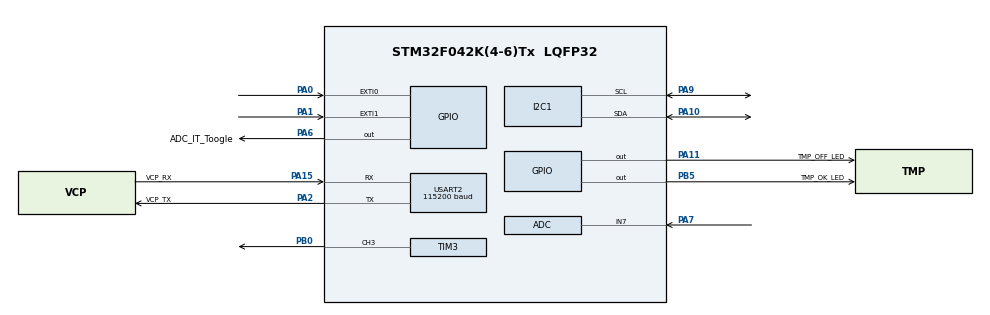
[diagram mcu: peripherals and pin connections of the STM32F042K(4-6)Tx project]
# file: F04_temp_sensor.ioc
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ADC.Resolution=ADC_RESOLUTION_12B
ADC.SamplingTime=ADC_SAMPLETIME_1CYCLE_5
I2C1.Timing=0x00201D2B
Mcu.Family=STM32F0
Mcu.Name=STM32F042K(4-6)Tx
Mcu.Package=LQFP32
NVIC.EXTI0_1_IRQn=true\:0\:0\:false\:false\:true\:true\:true\:true
NVIC.TIM14_IRQn=true\:0\:0\:false\:false\:true\:true\:true\:true
PA0.GPIO_ModeDefaultEXTI=GPIO_MODE_IT_FALLING
PA0.GPIO_PuPd=GPIO_PULLUP
PA0.Signal=GPXTI0
PA1.GPIO_ModeDefaultEXTI=GPIO_MODE_IT_FALLING
PA1.GPIO_PuPd=GPIO_PULLUP
PA1.Signal=GPXTI1
PA10.Mode=I2C
PA10.Signal=I2C1_SDA
PA11.GPIO_Label=TMP_OFF_LED
PA11.Signal=GPIO_Output
PA13.GPIO_Label=SWDIO
PA13.Mode=Serial_Wire
PA13.Signal=SYS_SWDIO
PA14.GPIO_Label=SWCLK
PA14.Mode=Serial_Wire
PA14.Signal=SYS_SWCLK
PA15.GPIO_Label=VCP_RX
PA15.Mode=Asynchronous
PA15.Signal=USART2_RX
PA2.GPIO_Label=VCP_TX
PA2.Mode=Asynchronous
PA2.Signal=USART2_TX
PA6.GPIO_Label=ADC_IT_Toogle
PA6.Signal=GPIO_Output
PA7.Mode=IN7
PA7.Signal=ADC_IN7
PA9.Mode=I2C
PA9.Signal=I2C1_SCL
PB0.Signal=S_TIM3_CH3
PB5.GPIO_Label=TMP_OK_LED
PB5.Signal=GPIO_Output
PF0-OSC_IN.Signal=RCC_OSC_IN
ProjectManager.HeapSize=0x200
ProjectManager.StackSize=0x400
ProjectManager.TargetToolchain=STM32CubeIDE
SH.S_TIM3_CH3.0=TIM3_CH3,PWM Generation3 CH3
TIM14.Period=125-1
TIM14.Prescaler=8000-1
TIM3.AutoReloadPreload=TIM_AUTORELOAD_PRELOAD_ENABLE
TIM3.Channel-PWM\ Generation3\ CH3=TIM_CHANNEL_3
TIM3.Period=1999-1
TIM3.Pulse-PWM\ Generation3\ CH3=1000
USART2.BaudRate=115200
USART2.VirtualMode-Asynchronous=VM_ASYNC
VP_TIM14_VS_ClockSourceINT.Mode=Enable_Timer
board=NUCLEO-F042K6

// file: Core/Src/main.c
/* USER CODE BEGIN Header */
/**
  ******************************************************************************
  * @file           : main.c
  * @brief          : Main program body
  ******************************************************************************
  * @attention
  *
  * Copyright (c) 2025 STMicroelectronics.
  * All rights reserved.
  *
  * This software is licensed under terms that can be found in the LICENSE file
  * in the root directory of this software component.
  * If no LICENSE file comes with this software, it is provided AS-IS.
  *
  ******************************************************************************
  */
/* USER CODE END Header */
#include "main.h"

/* USER CODE BEGIN Includes */
#include <stdbool.h>
#include <stdio.h>
#include <string.h>
#include <stdlib.h>
#include "oled_functions.h"
#include "ssd1306.h"
/* USER CODE END Includes */

ADC_HandleTypeDef hadc;

I2C_HandleTypeDef hi2c1;

TIM_HandleTypeDef htim3;
TIM_HandleTypeDef htim14;

UART_HandleTypeDef huart2;

/* USER CODE BEGIN PV */
int i;
const int TMP102_error = 1;
const uint32_t debounce_delay = 200;
uint32_t last_GPIO_PIN_0_press = 0;
uint32_t last_GPIO_PIN_1_press = 0;
uint32_t raw_adc;
bool adc_ready;
uint32_t adc_sample_no = 10;
/* USER CODE END PV */

void SystemClock_Config(void);
static void MX_GPIO_Init(void);
static void MX_USART2_UART_Init(void);
static void MX_I2C1_Init(void);
static void MX_TIM3_Init(void);
static void MX_ADC_Init(void);
static void MX_TIM14_Init(void);
/* USER CODE BEGIN PFP */
uint32_t calc_average(uint32_t adc_samples[]);
float adc_to_voltage(uint32_t adc_value);
int32_t tmp36_cdeg_from_mV(int32_t mv);
/* USER CODE END PFP */

int main(void)
{

  /* MCU Configuration--------------------------------------------------------*/

  /* Reset of all peripherals, Initializes the Flash interface and the Systick. */
  HAL_Init();

  /* Configure the system clock */
  SystemClock_Config();

  /* Initialize all configured peripherals */
  MX_GPIO_Init();
  MX_USART2_UART_Init();
  MX_I2C1_Init();
  MX_TIM3_Init();
  MX_ADC_Init();
  MX_TIM14_Init();
  /* USER CODE BEGIN 2 */
  ////////////////////////////////////////////////////

  //timer 14 is used for ADS
  HAL_TIM_Base_Start_IT(&htim14);

  // ADC channel 7

  HAL_ADC_Start(&hadc);
  adc_ready = false;
  uint16_t adc_index = 0;
  uint32_t adc_samples[adc_sample_no];

  //initial set temp
  i = 18;

  //temp text out
  char temp_set_text[20];
  memset(temp_set_text, 0x00, 20);

  //temp variables
  uint8_t tmp102_addr = (0x48 << 1);
  uint8_t receive_buffer[3];
  char temp_out_buffer[22];
  memset(temp_out_buffer, 0x00, 22);
  int scaled;

  //timer 3
  HAL_TIM_PWM_Start(&htim3, TIM_CHANNEL_3);

  //oled
  ssd1306_Init();
  clear_oled();
  HAL_ADCEx_Calibration_Start(&hadc);

  ////////////////////////////////////////////////////
  /* USER CODE END 2 */

  /* Infinite loop */
  /* USER CODE BEGIN WHILE */
  while (1)
  {
	  //get temperature from TMP102
	  if((HAL_I2C_IsDeviceReady(&hi2c1, tmp102_addr, 1, 10)) == HAL_OK){
		  receive_buffer[0] = 0x00;
		  HAL_I2C_Master_Transmit(&hi2c1, tmp102_addr, receive_buffer, 1, 20);
		  HAL_I2C_Master_Receive(&hi2c1, tmp102_addr, receive_buffer, 2, 20);
		    int16_t raw = ((receive_buffer[0] << 4) | (receive_buffer[1] >> 4));
		    raw = (int16_t)(raw << 4) >> 4;  // sign-extend 12-bit value

		    float temp = raw * 0.0625f;
		    scaled = (int)(temp * 100);
		    sprintf(temp_out_buffer, "TMP102:%d.%02d C", (scaled / 100)-TMP102_error, abs(scaled % 100));//correct temp. by subtracting 1
		    send_strXY(temp_out_buffer, 0, 0, 22);
		    HAL_GPIO_WritePin(TMP_OK_LED_GPIO_Port, TMP_OK_LED_Pin, GPIO_PIN_SET);
	  }
	  else{
		    HAL_GPIO_WritePin(TMP_OK_LED_GPIO_Port, TMP_OK_LED_Pin, GPIO_PIN_RESET);

		    HAL_I2C_DeInit(&hi2c1);
		    //HAL_I2C1
		    HAL_Delay(10);
		    //HAL_I2C_Init(&hi2c1);
		    MX_I2C1_Init();

	  }

	  //show set temp
	  sprintf(temp_set_text, "Alarm temp=%i C", i);
	  send_strXY(temp_set_text, 0, 1, 15);

	  //test for alarm
	  if( i > ((scaled/100)- TMP102_error) ){
		  HAL_TIM_PWM_Start(&htim3, TIM_CHANNEL_3);//start alarm
		  HAL_GPIO_WritePin(TMP_OFF_LED_GPIO_Port, TMP_OFF_LED_Pin, GPIO_PIN_SET); //turnoff red led

		  HAL_Delay(250);
		  HAL_TIM_PWM_Stop(&htim3, TIM_CHANNEL_3);//stop alarm
		    HAL_GPIO_WritePin(TMP_OFF_LED_GPIO_Port, TMP_OFF_LED_Pin, GPIO_PIN_RESET);

		  HAL_Delay(250);

	  }
	  else{
		  HAL_TIM_PWM_Stop(&htim3, TIM_CHANNEL_3);//stop alarm
	  }

	  // calculate temp from analog temp sensor
	  if(adc_ready == true){
			adc_ready = false;
			//HAL_I2C_DeInit(&hi2c1); //turn off I2C to reduce noise
			HAL_Delay(200);
			HAL_ADC_PollForConversion(&hadc, 10);
			adc_samples[adc_index] = HAL_ADC_GetValue(&hadc);
			//HAL_I2C_Init(&hi2c1); //turn on I2C again
			HAL_Delay(5);
			adc_index++;
			HAL_ADC_Start(&hadc);

	  }
	  if(adc_index == adc_sample_no){
		  adc_index = 0;
		  uint32_t average = calc_average(adc_samples);
		  //printf("average=%i\n", (int)average);
		  char text_average[20];
		  memset(text_average, 0x00, 20);
		  float voltage = adc_to_voltage(average)*1000;
		  sprintf(text_average, "TMP36 voltage:%lu\n", (uint32_t)voltage);
		  //HAL_UART_Transmit(&huart2, (uint8_t*)text_average, 10, 10);
		  send_strXY(text_average, 0, 4, 20);

		  char text_tmp36_tmp[20];
		  memset(text_tmp36_tmp, 0x00, 20);
		  int32_t cdeg = tmp36_cdeg_from_mV((uint32_t)voltage);
		  sprintf(text_tmp36_tmp, "TMP36:%ld.%02ldC", (cdeg/100)-4, labs(cdeg%100));//correct temperature by subtracting 4!
		  send_strXY(text_tmp36_tmp, 0, 5, 20);

	  }

	  HAL_Delay(5);

    /* USER CODE END WHILE */

  }
}

void SystemClock_Config(void)
{
  RCC_OscInitTypeDef RCC_OscInitStruct = {0};
  RCC_ClkInitTypeDef RCC_ClkInitStruct = {0};
  RCC_PeriphCLKInitTypeDef PeriphClkInit = {0};

  /** Initializes the RCC Oscillators according to the specified parameters
  * in the RCC_OscInitTypeDef structure.
  */
  RCC_OscInitStruct.OscillatorType = RCC_OSCILLATORTYPE_HSI|RCC_OSCILLATORTYPE_HSI14;
  RCC_OscInitStruct.HSIState = RCC_HSI_ON;
  RCC_OscInitStruct.HSI14State = RCC_HSI14_ON;
  RCC_OscInitStruct.HSICalibrationValue = RCC_HSICALIBRATION_DEFAULT;
  RCC_OscInitStruct.HSI14CalibrationValue = 16;
  RCC_OscInitStruct.PLL.PLLState = RCC_PLL_NONE;
  if (HAL_RCC_OscConfig(&RCC_OscInitStruct) != HAL_OK)
  {
    Error_Handler();
  }

  /** Initializes the CPU, AHB and APB buses clocks
  */
  RCC_ClkInitStruct.ClockType = RCC_CLOCKTYPE_HCLK|RCC_CLOCKTYPE_SYSCLK
                              |RCC_CLOCKTYPE_PCLK1;
  RCC_ClkInitStruct.SYSCLKSource = RCC_SYSCLKSOURCE_HSI;
  RCC_ClkInitStruct.AHBCLKDivider = RCC_SYSCLK_DIV1;
  RCC_ClkInitStruct.APB1CLKDivider = RCC_HCLK_DIV1;

  if (HAL_RCC_ClockConfig(&RCC_ClkInitStruct, FLASH_LATENCY_0) != HAL_OK)
  {
    Error_Handler();
  }
  PeriphClkInit.PeriphClockSelection = RCC_PERIPHCLK_I2C1;
  PeriphClkInit.I2c1ClockSelection = RCC_I2C1CLKSOURCE_HSI;
  if (HAL_RCCEx_PeriphCLKConfig(&PeriphClkInit) != HAL_OK)
  {
    Error_Handler();
  }
}

static void MX_ADC_Init(void)
{

  ADC_ChannelConfTypeDef sConfig = {0};

  /** Configure the global features of the ADC (Clock, Resolution, Data Alignment and number of conversion)
  */
  hadc.Instance = ADC1;
  hadc.Init.ClockPrescaler = ADC_CLOCK_ASYNC_DIV1;
  hadc.Init.Resolution = ADC_RESOLUTION_12B;
  hadc.Init.DataAlign = ADC_DATAALIGN_RIGHT;
  hadc.Init.ScanConvMode = ADC_SCAN_DIRECTION_FORWARD;
  hadc.Init.EOCSelection = ADC_EOC_SINGLE_CONV;
  hadc.Init.LowPowerAutoWait = DISABLE;
  hadc.Init.LowPowerAutoPowerOff = DISABLE;
  hadc.Init.ContinuousConvMode = DISABLE;
  hadc.Init.DiscontinuousConvMode = DISABLE;
  hadc.Init.ExternalTrigConv = ADC_SOFTWARE_START;
  hadc.Init.ExternalTrigConvEdge = ADC_EXTERNALTRIGCONVEDGE_NONE;
  hadc.Init.DMAContinuousRequests = DISABLE;
  hadc.Init.Overrun = ADC_OVR_DATA_PRESERVED;
  if (HAL_ADC_Init(&hadc) != HAL_OK)
  {
    Error_Handler();
  }

  /** Configure for the selected ADC regular channel to be converted.
  */
  sConfig.Channel = ADC_CHANNEL_7;
  sConfig.Rank = ADC_RANK_CHANNEL_NUMBER;
  sConfig.SamplingTime = ADC_SAMPLETIME_1CYCLE_5;
  if (HAL_ADC_ConfigChannel(&hadc, &sConfig) != HAL_OK)
  {
    Error_Handler();
  }

}

static void MX_I2C1_Init(void)
{

  hi2c1.Instance = I2C1;
  hi2c1.Init.Timing = 0x00201D2B;
  hi2c1.Init.OwnAddress1 = 0;
  hi2c1.Init.AddressingMode = I2C_ADDRESSINGMODE_7BIT;
  hi2c1.Init.DualAddressMode = I2C_DUALADDRESS_DISABLE;
  hi2c1.Init.OwnAddress2 = 0;
  hi2c1.Init.OwnAddress2Masks = I2C_OA2_NOMASK;
  hi2c1.Init.GeneralCallMode = I2C_GENERALCALL_DISABLE;
  hi2c1.Init.NoStretchMode = I2C_NOSTRETCH_DISABLE;
  if (HAL_I2C_Init(&hi2c1) != HAL_OK)
  {
    Error_Handler();
  }

  /** Configure Analogue filter
  */
  if (HAL_I2CEx_ConfigAnalogFilter(&hi2c1, I2C_ANALOGFILTER_ENABLE) != HAL_OK)
  {
    Error_Handler();
  }

  /** Configure Digital filter
  */
  if (HAL_I2CEx_ConfigDigitalFilter(&hi2c1, 0) != HAL_OK)
  {
    Error_Handler();
  }

}

static void MX_TIM3_Init(void)
{

  TIM_MasterConfigTypeDef sMasterConfig = {0};
  TIM_OC_InitTypeDef sConfigOC = {0};

  htim3.Instance = TIM3;
  htim3.Init.Prescaler = 0;
  htim3.Init.CounterMode = TIM_COUNTERMODE_UP;
  htim3.Init.Period = 1999-1;
  htim3.Init.ClockDivision = TIM_CLOCKDIVISION_DIV1;
  htim3.Init.AutoReloadPreload = TIM_AUTORELOAD_PRELOAD_ENABLE;
  if (HAL_TIM_PWM_Init(&htim3) != HAL_OK)
  {
    Error_Handler();
  }
  sMasterConfig.MasterOutputTrigger = TIM_TRGO_RESET;
  sMasterConfig.MasterSlaveMode = TIM_MASTERSLAVEMODE_DISABLE;
  if (HAL_TIMEx_MasterConfigSynchronization(&htim3, &sMasterConfig) != HAL_OK)
  {
    Error_Handler();
  }
  sConfigOC.OCMode = TIM_OCMODE_PWM1;
  sConfigOC.Pulse = 1000;
  sConfigOC.OCPolarity = TIM_OCPOLARITY_HIGH;
  sConfigOC.OCFastMode = TIM_OCFAST_DISABLE;
  if (HAL_TIM_PWM_ConfigChannel(&htim3, &sConfigOC, TIM_CHANNEL_3) != HAL_OK)
  {
    Error_Handler();
  }
  HAL_TIM_MspPostInit(&htim3);

}

static void MX_TIM14_Init(void)
{

  htim14.Instance = TIM14;
  htim14.Init.Prescaler = 8000-1;
  htim14.Init.CounterMode = TIM_COUNTERMODE_UP;
  htim14.Init.Period = 125-1;
  htim14.Init.ClockDivision = TIM_CLOCKDIVISION_DIV1;
  htim14.Init.AutoReloadPreload = TIM_AUTORELOAD_PRELOAD_DISABLE;
  if (HAL_TIM_Base_Init(&htim14) != HAL_OK)
  {
    Error_Handler();
  }

}

static void MX_USART2_UART_Init(void)
{

  huart2.Instance = USART2;
  huart2.Init.BaudRate = 115200;
  huart2.Init.WordLength = UART_WORDLENGTH_8B;
  huart2.Init.StopBits = UART_STOPBITS_1;
  huart2.Init.Parity = UART_PARITY_NONE;
  huart2.Init.Mode = UART_MODE_TX_RX;
  huart2.Init.HwFlowCtl = UART_HWCONTROL_NONE;
  huart2.Init.OverSampling = UART_OVERSAMPLING_16;
  huart2.Init.OneBitSampling = UART_ONE_BIT_SAMPLE_DISABLE;
  huart2.AdvancedInit.AdvFeatureInit = UART_ADVFEATURE_NO_INIT;
  if (HAL_UART_Init(&huart2) != HAL_OK)
  {
    Error_Handler();
  }

}

static void MX_GPIO_Init(void)
{
  GPIO_InitTypeDef GPIO_InitStruct = {0};

  /* GPIO Ports Clock Enable */
  __HAL_RCC_GPIOF_CLK_ENABLE();
  __HAL_RCC_GPIOA_CLK_ENABLE();
  __HAL_RCC_GPIOB_CLK_ENABLE();

  /*Configure GPIO pin Output Level */
  HAL_GPIO_WritePin(GPIOA, ADC_IT_Toogle_Pin|TMP_OFF_LED_Pin, GPIO_PIN_RESET);

  /*Configure GPIO pin Output Level */
  HAL_GPIO_WritePin(TMP_OK_LED_GPIO_Port, TMP_OK_LED_Pin, GPIO_PIN_RESET);

  /*Configure GPIO pins : PA0 PA1 */
  GPIO_InitStruct.Pin = GPIO_PIN_0|GPIO_PIN_1;
  GPIO_InitStruct.Mode = GPIO_MODE_IT_FALLING;
  GPIO_InitStruct.Pull = GPIO_PULLUP;
  HAL_GPIO_Init(GPIOA, &GPIO_InitStruct);

  /*Configure GPIO pins : ADC_IT_Toogle_Pin TMP_OFF_LED_Pin */
  GPIO_InitStruct.Pin = ADC_IT_Toogle_Pin|TMP_OFF_LED_Pin;
  GPIO_InitStruct.Mode = GPIO_MODE_OUTPUT_PP;
  GPIO_InitStruct.Pull = GPIO_NOPULL;
  GPIO_InitStruct.Speed = GPIO_SPEED_FREQ_LOW;
  HAL_GPIO_Init(GPIOA, &GPIO_InitStruct);

  /*Configure GPIO pin : TMP_OK_LED_Pin */
  GPIO_InitStruct.Pin = TMP_OK_LED_Pin;
  GPIO_InitStruct.Mode = GPIO_MODE_OUTPUT_PP;
  GPIO_InitStruct.Pull = GPIO_NOPULL;
  GPIO_InitStruct.Speed = GPIO_SPEED_FREQ_LOW;
  HAL_GPIO_Init(TMP_OK_LED_GPIO_Port, &GPIO_InitStruct);

  /* EXTI interrupt init*/
  HAL_NVIC_SetPriority(EXTI0_1_IRQn, 0, 0);
  HAL_NVIC_EnableIRQ(EXTI0_1_IRQn);

}

/* USER CODE BEGIN 4 */

//float adc_to_voltage(uint32_t adc_value) {
//    const float VREF = 3.3f;
//    const uint32_t MAX_ADC = 4095;
//    return (adc_value * VREF) / MAX_ADC;
//}

int32_t tmp36_cdeg_from_mV(int32_t mv) {   // mv = measured millivolts
    return (mv - 500) * 10;                // centi-°C
}

float adc_to_voltage(uint32_t adc_value) {
    //const float VREF = 3.3257f;  // your measured supply voltage breadboard
    const float VREF = 3.311f;  // your measured supply voltage

    const float MAX_ADC = 4095.0f;
    return (adc_value * VREF) / MAX_ADC;
}

uint32_t calc_average(uint32_t adc_samples[]){
	uint32_t out = 0;
	for(uint32_t index = 0; index < adc_sample_no; index++){
		out += adc_samples[index];
	}
	out = (uint32_t)(out/adc_sample_no);
	return out;
}

int __io_putchar(int ch){
	HAL_UART_Transmit(&huart2, (uint8_t*)&ch, 1, HAL_MAX_DELAY);
	return ch;
}

void HAL_TIM_PeriodElapsedCallback(TIM_HandleTypeDef *htim){
	if(htim->Instance == TIM14){
		HAL_GPIO_TogglePin(ADC_IT_Toogle_GPIO_Port, ADC_IT_Toogle_Pin);
		adc_ready = true;

	}
}

void HAL_GPIO_EXTI_Callback(uint16_t GPIO_Pin)
{
	//uint32_t now = HAL_GetTick();

    if (GPIO_Pin == GPIO_PIN_0)
    {
        		i -= 1;
    }
    if (GPIO_Pin == GPIO_PIN_1)
    {
    		i += 1;
    }
}

/*
void HAL_GPIO_EXTI_Callback(uint16_t GPIO_Pin)
{
	//old version before adding capacitors
	uint32_t now = HAL_GetTick();

    if (GPIO_Pin == GPIO_PIN_0) {
    	if((now - last_GPIO_PIN_0_press) > debounce_delay){
    		i -= 1;
    		last_GPIO_PIN_0_press = now;
    	}

    }
    if (GPIO_Pin == GPIO_PIN_1) {
    	if((now - last_GPIO_PIN_1_press) > debounce_delay){
    		i += 1;
    		last_GPIO_PIN_1_press = now;
    	}
    }
}
*/

/* USER CODE END 4 */

void Error_Handler(void)
{
  __disable_irq();
  while (1)
  {
  }
}
